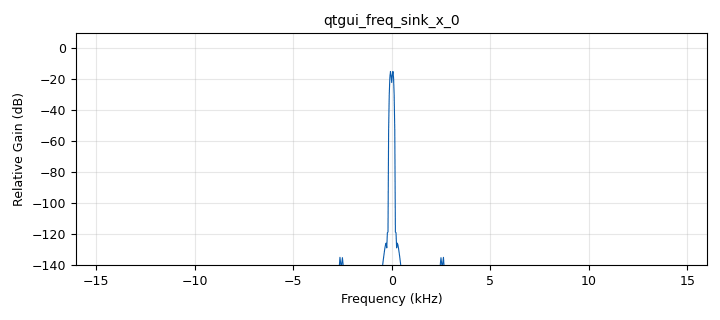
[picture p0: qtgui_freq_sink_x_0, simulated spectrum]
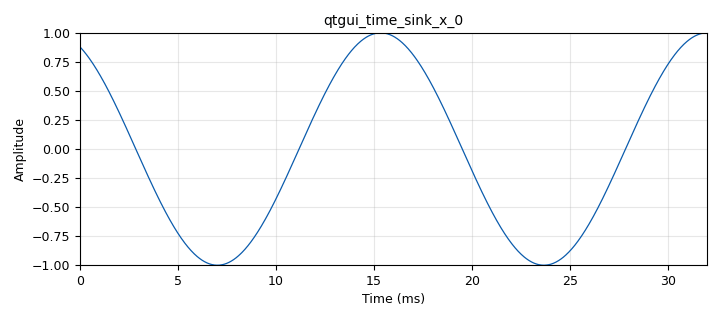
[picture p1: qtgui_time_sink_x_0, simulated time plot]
options:
  parameters:
    author: labcom
    generate_options: qt_gui
    id: Lab_comu_I
    output_language: python
    title: PrimerFlujograma
  states: {}

blocks:
- name: amplitude
  id: variable_qtgui_range
  parameters:
    start: '0'
    step: '0.1'
    stop: '5'
    value: '1'
  states: {}
- name: frequency
  id: variable_qtgui_range
  parameters:
    start: '-samp_rate/2'
    step: '100'
    stop: samp_rate/2
    value: '60'
  states: {}
- name: frequency
  id: variable
  parameters:
    value: samp_rate/3
  states: {state: disabled}
- name: samp_rate
  id: variable
  parameters:
    value: '32000'
  states: {}
- name: analog_sig_source_x_0
  id: analog_sig_source_x
  parameters:
    amp: amplitude
    freq: frequency
    offset: '0'
    phase: '0'
    samp_rate: samp_rate
    type: float
    waveform: analog.GR_COS_WAVE
  states: {}
- name: blocks_float_to_complex_0
  id: blocks_float_to_complex
  parameters: {}
  states: {state: disabled}
- name: blocks_throttle2_0
  id: blocks_throttle2
  parameters:
    samples_per_second: samp_rate
    type: float
  states: {}
- name: qtgui_freq_sink_x_0
  id: qtgui_freq_sink_x
  parameters:
    bw: samp_rate
    fc: '0'
    fftsize: '1024'
    type: float
  states: {}
- name: qtgui_time_sink_x_0
  id: qtgui_time_sink_x
  parameters:
    size: '1024'
    srate: samp_rate
    type: float
  states: {}
- name: uhd_usrp_sink_0
  id: uhd_usrp_sink
  parameters:
    ant0: '"TX/RX"'
    center_freq0: '0'
    gain0: '0'
    samp_rate: samp_rate
    sync: sync
    type: fc32
  states: {state: disabled}

connections:
- [analog_sig_source_x_0, '0', blocks_float_to_complex_0, '0']
- [analog_sig_source_x_0, '0', blocks_throttle2_0, '0']
- [blocks_float_to_complex_0, '0', uhd_usrp_sink_0, '0']
- [blocks_throttle2_0, '0', qtgui_freq_sink_x_0, '0']
- [blocks_throttle2_0, '0', qtgui_time_sink_x_0, '0']

metadata:
  file_format: 1
  grc_version: 3.10.7.0
